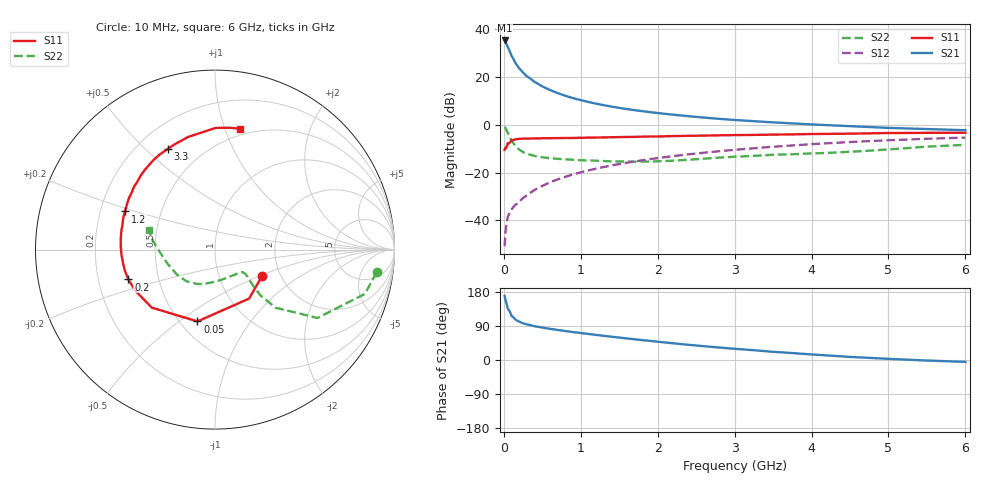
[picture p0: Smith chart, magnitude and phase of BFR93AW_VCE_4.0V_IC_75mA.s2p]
! (c) 2017  Infineon Technologies AG, Munich
! Infineon Technologies  Discrete & RF Semiconductors
! BFR93AW
! VCE =  4.0 V,  IC =  75 mA
! Common Emitter S-Parameters:  Jan 2017
# GHz  S  MA  R  50
!  f  S11  S21  S12  S22
! GHz  MAG  ANG  MAG  ANG  MAG  ANG  MAG  ANG
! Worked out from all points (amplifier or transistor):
!   77 points, 10 MHz to 6 GHz, reference 50 ohm
!   highest |S21| = 35.4 dB at 10 MHz (marker M1)
!   |S21| within 3 dB of that: start of sweep to 55.73 MHz
!   unconditionally stable (mu >= 1): 275.7 MHz to 2.347 GHz
!   at 130 MHz: K = 0.74, MSG = 30.7 dB, |S12| = -34.2 dB
!   at 2.2 GHz: K = 1.01, MAG = 8.0 dB, |S12| = -13.1 dB
!   at 6 GHz: K = 0.93, MSG = 1.5 dB, |S12| = -5.3 dB
!   S11 on the Smith chart (normalised r, x): 10 MHz: 1.61, -0.52; 50 MHz: 0.61, -0.59; 200 MHz: 0.33, -0.15; 1.2 GHz: 0.31, +0.19; 3.3 GHz: 0.32, +0.59; 6 GHz: 0.44, +1.13
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0.01  0.3012 -29.5  58.62 169.2  0.0029 75.8  0.9096 -8.0
0.02  0.3325 -55.2  56.78 159.2  0.0054 75.4  0.8706 -16.5
0.05  0.4118 -103.7  43.47 136.0  0.0117 60.9  0.6868 -33.7
0.1  0.4778 -137.4  27.97 116.4  0.0171 58.4  0.4677 -43.8
0.15  0.4999 -152.7  19.92 106.8  0.0211 61.1  0.3597 -45.2
0.2  0.5104 -161.0  15.32 101.0  0.0249 64.6  0.3042 -43.9
0.25  0.516 -166.9  12.44 96.8  0.0296 65.9  0.2706 -42.3
0.3  0.5175 -170.8  10.45 93.9  0.0337 67.9  0.2482 -40.8
0.4  0.5217 -176.8  7.948 89.1  0.0436 71.2  0.2244 -39.0
0.5  0.5252 178.4  6.396 85.5  0.0529 72.9  0.2099 -38.7
0.6  0.528 174.4  5.379 82.2  0.0631 73.2  0.201 -39.2
0.7  0.5301 171.1  4.634 79.3  0.0724 74.1  0.1952 -40.1
0.9  0.5338 164.8  3.635 73.7  0.0918 73.4  0.1868 -43.9
1.1  0.5426 159.7  3.021 68.7  0.112 72.7  0.1806 -48.9
1.2  0.5445 157.0  2.783 66.2  0.1217 72.2  0.178 -51.5
1.6  0.5603 147.8  2.149 56.8  0.1618 69.3  0.1713 -65.5
2.1  0.5784 137.3  1.704 46.2  0.2121 64.8  0.1756 -86.5
3.1  0.6144 118.5  1.24 28.1  0.3104 54.5  0.2196 -121.1
3.3  0.6197 115.0  1.184 25.0  0.3295 52.3  0.2276 -126.7
4.1  0.6469 101.9  1.008 13.4  0.404 43.3  0.2561 -150.1
5.1  0.6783 88.6  0.857 2.2  0.4845 31.8  0.3158 -180.0
6  0.6879 78.2  0.775 -5.1  0.5442 21.6  0.3836 163.2
